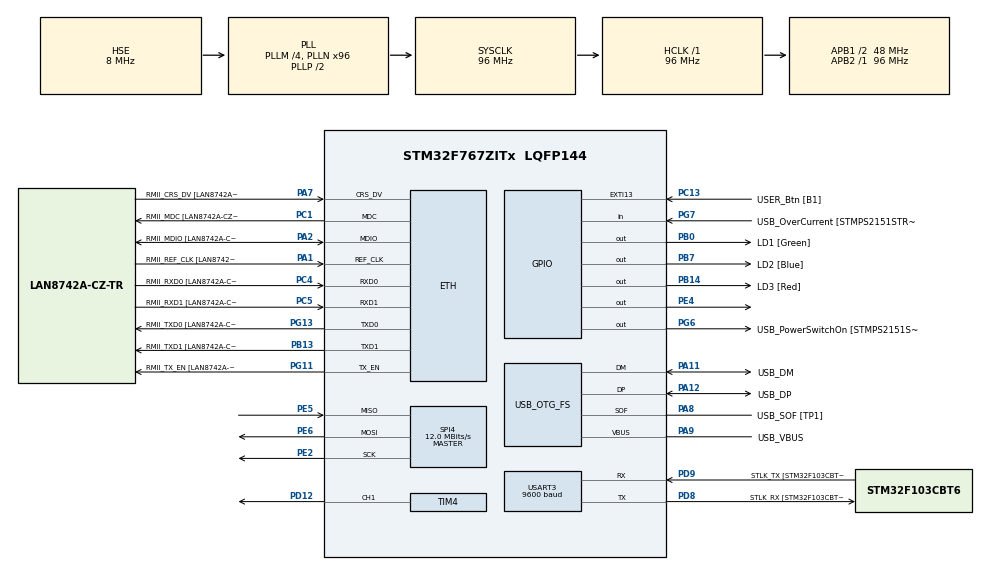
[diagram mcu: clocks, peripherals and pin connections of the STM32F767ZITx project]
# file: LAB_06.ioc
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ETH.MediaInterface=HAL_ETH_RMII_MODE
ETH.PHY_Name=LAN8742A_PHY_ADDRESS
ETH.PHY_Value=0
ETH.PhyAddress=0
Mcu.Family=STM32F7
Mcu.Name=STM32F767ZITx
Mcu.Package=LQFP144
NVIC.PriorityGroup=NVIC_PRIORITYGROUP_4
NVIC.SPI4_IRQn=true\:0\:0\:false\:false\:true\:true\:true\:true
NVIC.TIM2_IRQn=true\:0\:0\:false\:false\:true\:true\:true\:true
NVIC.TIM3_IRQn=true\:0\:0\:false\:false\:true\:true\:true\:true
NVIC.USART3_IRQn=true\:0\:0\:false\:false\:true\:true\:true\:true
PA1.GPIO_Label=RMII_REF_CLK [LAN8742A-CZ-TR_REFCLK0]
PA1.Mode=RMII
PA1.Signal=ETH_REF_CLK
PA10.GPIO_Label=USB_ID
PA10.Signal=USB_OTG_FS_ID
PA11.GPIO_Label=USB_DM
PA11.Mode=Device_Only
PA11.Signal=USB_OTG_FS_DM
PA12.GPIO_Label=USB_DP
PA12.Mode=Device_Only
PA12.Signal=USB_OTG_FS_DP
PA13.GPIO_Label=TMS
PA13.Mode=Serial_Wire
PA13.Signal=SYS_JTMS-SWDIO
PA14.GPIO_Label=TCK
PA14.Mode=Serial_Wire
PA14.Signal=SYS_JTCK-SWCLK
PA2.GPIO_Label=RMII_MDIO [LAN8742A-CZ-TR_MDIO]
PA2.Mode=RMII
PA2.Signal=ETH_MDIO
PA7.GPIO_Label=RMII_CRS_DV [LAN8742A-CZ-TR_CRS_DV]
PA7.Mode=RMII
PA7.Signal=ETH_CRS_DV
PA8.GPIO_Label=USB_SOF [TP1]
PA8.Mode=Activate_SOF_FS
PA8.Signal=USB_OTG_FS_SOF
PA9.GPIO_Label=USB_VBUS
PA9.Mode=Activate_VBUS
PA9.Signal=USB_OTG_FS_VBUS
PB0.GPIO_Label=LD1 [Green]
PB0.Signal=GPIO_Output
PB13.GPIO_Label=RMII_TXD1 [LAN8742A-CZ-TR_TXD1]
PB13.Mode=RMII
PB13.Signal=ETH_TXD1
PB14.GPIO_Label=LD3 [Red]
PB14.Signal=GPIO_Output
PB3.GPIO_Label=SWO
PB3.Signal=SYS_JTDO-SWO
PB7.GPIO_Label=LD2 [Blue]
PB7.Signal=GPIO_Output
PC1.GPIO_Label=RMII_MDC [LAN8742A-CZ-TR_MDC]
PC1.Mode=RMII
PC1.Signal=ETH_MDC
PC13.GPIO_Label=USER_Btn [B1]
PC13.Signal=GPXTI13
PC14/OSC32_IN.Mode=LSE-External-Oscillator
PC14/OSC32_IN.Signal=RCC_OSC32_IN
PC15/OSC32_OUT.Mode=LSE-External-Oscillator
PC15/OSC32_OUT.Signal=RCC_OSC32_OUT
PC4.GPIO_Label=RMII_RXD0 [LAN8742A-CZ-TR_RXD0]
PC4.Mode=RMII
PC4.Signal=ETH_RXD0
PC5.GPIO_Label=RMII_RXD1 [LAN8742A-CZ-TR_RXD1]
PC5.Mode=RMII
PC5.Signal=ETH_RXD1
PD12.Signal=S_TIM4_CH1
PD8.GPIO_Label=STLK_RX [STM32F103CBT6_PA3]
PD8.Mode=Asynchronous
PD8.Signal=USART3_TX
PD9.GPIO_Label=STLK_TX [STM32F103CBT6_PA2]
PD9.Mode=Asynchronous
PD9.Signal=USART3_RX
PE2.Mode=Full_Duplex_Master
PE2.Signal=SPI4_SCK
PE4.Signal=GPIO_Output
PE5.Mode=Full_Duplex_Master
PE5.Signal=SPI4_MISO
PE6.Mode=Full_Duplex_Master
PE6.Signal=SPI4_MOSI
PG11.GPIO_Label=RMII_TX_EN [LAN8742A-CZ-TR_TXEN]
PG11.Mode=RMII
PG11.Signal=ETH_TX_EN
PG13.GPIO_Label=RMII_TXD0 [LAN8742A-CZ-TR_TXD0]
PG13.Mode=RMII
PG13.Signal=ETH_TXD0
PG6.GPIO_Label=USB_PowerSwitchOn [STMPS2151STR_EN]
PG6.Signal=GPIO_Output
PG7.GPIO_Label=USB_OverCurrent [STMPS2151STR_FAULT]
PG7.Signal=GPIO_Input
PH0/OSC_IN.GPIO_Label=MCO [STM32F103CBT6_PA8]
PH0/OSC_IN.Mode=HSE-External-Clock-Source
PH0/OSC_IN.Signal=RCC_OSC_IN
PH1/OSC_OUT.Mode=HSE-External-Clock-Source
PH1/OSC_OUT.Signal=RCC_OSC_OUT
ProjectManager.HeapSize=0x200
ProjectManager.StackSize=0x400
ProjectManager.TargetToolchain=STM32CubeIDE
RCC.48MHZClocksFreq_Value=24000000
RCC.AHBFreq_Value=96000000
RCC.APB1CLKDivider=RCC_HCLK_DIV2
RCC.APB1Freq_Value=48000000
RCC.APB1TimFreq_Value=96000000
RCC.APB2Freq_Value=96000000
RCC.APB2TimFreq_Value=96000000
RCC.CortexFreq_Value=96000000
RCC.HCLKFreq_Value=96000000
RCC.HSE_VALUE=8000000
RCC.HSI_VALUE=16000000
RCC.PLLM=4
RCC.PLLMUL=RCC_PLL_MUL9
RCC.PLLN=96
RCC.PLLQ=4
RCC.PRESCALERUSB=RCC_USBCLKSOURCE_PLL_DIV1_5
RCC.SYSCLKFreq_VALUE=96000000
RCC.SYSCLKSource=RCC_SYSCLKSOURCE_PLLCLK
RCC.SYSCLKSourceVirtual=RCC_SYSCLKSOURCE_PLLCLK
RCC.USBFreq_Value=48000000
RCC.VCOOutputFreq_Value=192000000
SH.S_TIM4_CH1.0=TIM4_CH1,PWM Generation1 CH1
SPI4.BaudRatePrescaler=SPI_BAUDRATEPRESCALER_8
SPI4.CLKPhase=SPI_PHASE_2EDGE
SPI4.CLKPolarity=SPI_POLARITY_HIGH
SPI4.CalculateBaudRate=12.0 MBits/s
SPI4.DataSize=SPI_DATASIZE_8BIT
SPI4.Direction=SPI_DIRECTION_2LINES
SPI4.Mode=SPI_MODE_MASTER
SPI4.VirtualType=VM_MASTER
TIM2.Period=9999
TIM2.Prescaler=10799
TIM3.Period=999
TIM3.Prescaler=23999
TIM4.Channel-PWM\ Generation1\ CH1=TIM_CHANNEL_1
TIM4.Period=9999
TIM4.Prescaler=95
USART3.BaudRate=9600
USART3.VirtualMode-Asynchronous=VM_ASYNC
USB_OTG_FS.VirtualMode=Device_Only
VP_TIM2_VS_ClockSourceINT.Mode=Internal
VP_TIM3_VS_ClockSourceINT.Mode=Internal
VP_TIM4_VS_ClockSourceINT.Mode=Internal
board=NUCLEO-F767ZI

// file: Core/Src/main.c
/* USER CODE BEGIN Header */
/**
 ******************************************************************************
 * @file           : main.c
 * @brief          : Main program body
 ******************************************************************************
 * @attention
 *
 * Copyright (c) 2025 STMicroelectronics.
 * All rights reserved.
 *
 * This software is licensed under terms that can be found in the LICENSE file
 * in the root directory of this software component.
 * If no LICENSE file comes with this software, it is provided AS-IS.
 *
 ******************************************************************************
 */
/* USER CODE END Header */
#include "main.h"
#include "string.h"

/* USER CODE BEGIN Includes */

#include <stdio.h>
#include <stdbool.h>

/* USER CODE END Includes */

#if defined ( __ICCARM__ ) /*!< IAR Compiler */
#pragma location=0x2007c000
ETH_DMADescTypeDef  DMARxDscrTab[ETH_RX_DESC_CNT]; /* Ethernet Rx DMA Descriptors */
#pragma location=0x2007c0a0
ETH_DMADescTypeDef  DMATxDscrTab[ETH_TX_DESC_CNT]; /* Ethernet Tx DMA Descriptors */

#elif defined ( __CC_ARM )  /* MDK ARM Compiler */

__attribute__((at(0x2007c000))) ETH_DMADescTypeDef  DMARxDscrTab[ETH_RX_DESC_CNT]; /* Ethernet Rx DMA Descriptors */
__attribute__((at(0x2007c0a0))) ETH_DMADescTypeDef  DMATxDscrTab[ETH_TX_DESC_CNT]; /* Ethernet Tx DMA Descriptors */

#elif defined ( __GNUC__ ) /* GNU Compiler */

ETH_DMADescTypeDef DMARxDscrTab[ETH_RX_DESC_CNT] __attribute__((section(".RxDecripSection"))); /* Ethernet Rx DMA Descriptors */
ETH_DMADescTypeDef DMATxDscrTab[ETH_TX_DESC_CNT] __attribute__((section(".TxDecripSection")));   /* Ethernet Tx DMA Descriptors */
#endif

ETH_TxPacketConfig TxConfig;

ETH_HandleTypeDef heth;

SPI_HandleTypeDef hspi4;

TIM_HandleTypeDef htim2;
TIM_HandleTypeDef htim3;
TIM_HandleTypeDef htim4;

UART_HandleTypeDef huart3;

PCD_HandleTypeDef hpcd_USB_OTG_FS;

void SystemClock_Config(void);
static void MX_GPIO_Init(void);
static void MX_ETH_Init(void);
static void MX_USART3_UART_Init(void);
static void MX_USB_OTG_FS_PCD_Init(void);
static void MX_SPI4_Init(void);
static void MX_TIM2_Init(void);
static void MX_TIM3_Init(void);
static void MX_TIM4_Init(void);

/* USER CODE BEGIN 0 */

#define ZADANIE 3

void SetPWM(TIM_HandleTypeDef *htim, uint32_t channel, float duty) {
	if (duty < 0.0f)
		duty = 0.0f;
	if (duty > 100.0f)
		duty = 100.0f;

	uint32_t ARR = __HAL_TIM_GET_AUTORELOAD(htim);
	uint32_t compare = (uint32_t) ((duty / 100.0f) * (ARR + 1));
	__HAL_TIM_SET_COMPARE(htim, channel, compare);
}

// wyslanie wiadomosci uart'em
void UART_TransmitMessage(char *msg) {
	HAL_UART_Transmit(&huart3, (uint8_t*) msg, strlen(msg), HAL_MAX_DELAY);
}

// z dokumentacji
# define BMP2_SPI_BUFFER_LEN 28
# define BMP2_DATA_INDEX 1
# define BMP2_REG_ADDR_INDEX 0
# define BMP2_REG_ADDR_LEN 1

#define BMP_CS_PORT GPIOE
#define BMP_CS_PIN  GPIO_PIN_4  // SPI4_NSS - PE4

// aktywacja linii - start komunikacji
void CS_LOW() {
	HAL_GPIO_WritePin(BMP_CS_PORT, BMP_CS_PIN, GPIO_PIN_RESET);
}

// dezaktywacja linii - koniec komunikacji
void CS_HIGH() {
	HAL_GPIO_WritePin(BMP_CS_PORT, BMP_CS_PIN, GPIO_PIN_SET);
}

// zapis do rejestru czujnika
void BMP280_Write(uint8_t reg, uint8_t value) {
	uint8_t tx[2] = { reg & 0x7F, value };
	CS_LOW();
	HAL_SPI_Transmit(&hspi4, tx, 2, HAL_MAX_DELAY);
	CS_HIGH();
}

// odczyt rejestru czujnika
void BMP280_Read(uint8_t reg, uint8_t *data, uint8_t len) {
	uint8_t addr = reg | 0x80;
	CS_LOW();
	HAL_SPI_Transmit(&hspi4, &addr, 1, HAL_MAX_DELAY);
	HAL_SPI_Receive(&hspi4, data, len, HAL_MAX_DELAY);
	CS_HIGH();
}

// XD - kumpel witam, niektore chyba niepotrzebne
#define BMP280_ADDR_CTRL_MEAS  0xF4
#define BMP280_ADDR_CONFIG     0xF5
#define BMP280_ADDR_RESET      0xE0
#define BMP280_ADDR_ID         0xD0

#define BMP280_RESET_VALUE     0xB6
#define BMP280_MODE_NORMAL     0x03
#define BMP280_OSRS_TEMP_2X    (0x02 << 5)

#define BMP280_CTRL_MEAS_INIT  0x27 // oversampling x1 i normal mode

_Bool BMP280_IsDetected() {
	uint8_t id = 0;
	BMP280_Read(BMP280_ADDR_ID, &id, 1);

	// standardowe id czujnika
	if (id == 0x58)
		return true;
	else
		return false;
}

void BMP280_Init() {
	// czytamy id czujnika
	uint8_t id;
	BMP280_Read(BMP280_ADDR_ID, &id, 1);

	// sprawdzamy czy wykryty czujnik
	if (!BMP280_IsDetected()) {
		UART_TransmitMessage("CZUJNIK NIEWYKRYTY\r\n");
		return;
	}

	// zapisujemy reset do adresu reseta czujnika
	// ustawienia domyslne czujnika
	BMP280_Write(BMP280_ADDR_RESET, BMP280_RESET_VALUE);
	HAL_Delay(10);

	// ustawiamy w adresie configu rozne rzeczy (filtry, czas pomiedzy pomiarami) - tutaj wylaczamy wszystko
	BMP280_Write(BMP280_ADDR_CONFIG, 0x00);
	// ustawiamy tryb pracy czujnika,
	BMP280_Write(BMP280_ADDR_CTRL_MEAS, BMP280_CTRL_MEAS_INIT);
}

// bajty tempretury czujnika
// most significant byte
// least significant byte
// extra least significant byte
#define BMP280_ADDR_TEMP_MSB 0xFA
#define BMP280_ADDR_TEMP_LSB 0xFB
#define BMP280_ADDR_TEMP_XLSB 0xFC

// bajty cisnienia czujnika
#define BMP280_ADDR_PRESS_MSB  0xF7
#define BMP280_ADDR_PRESS_LSB  0xF8
#define BMP280_ADDR_PRESS_XLSB 0xF9

// odczyt temperatury...
int32_t BMP280_ReadRawTemperature() {
	uint8_t data[3];
	BMP280_Read(BMP280_ADDR_TEMP_MSB, data, 3);
	int32_t rawTemp = ((int32_t) data[0] << 12) | ((int32_t) data[1] << 4) | ((int32_t) (data[2] >> 4));
	return rawTemp;
}

int32_t BMP280_ReadRawPressure() {
	uint8_t data[3];
	BMP280_Read(BMP280_ADDR_PRESS_MSB, data, 3);
	int32_t rawPress = ((int32_t) data[0] << 12) | ((int32_t) data[1] << 4) | ((int32_t) (data[2] >> 4));
	return rawPress;
}

// trzeba odczytac kalibracje zeby dobrze zamienic raw temp na C
uint16_t dig_T1;
int16_t dig_T2, dig_T3;

// to samo dla cisnienia
uint16_t dig_P1;
int16_t dig_P2, dig_P3, dig_P4, dig_P5, dig_P6, dig_P7, dig_P8, dig_P9;

void BMP280_ReadCalibration() {
	uint8_t calib[24];
	BMP280_Read(0x88, calib, 24);

	dig_T1 = (uint16_t) ((calib[1] << 8) | calib[0]);
	dig_T2 = (int16_t) ((calib[3] << 8) | calib[2]);
	dig_T3 = (int16_t) ((calib[5] << 8) | calib[4]);

	dig_P1 = (uint16_t) ((calib[7] << 8) | calib[6]);
	dig_P2 = (int16_t) ((calib[9] << 8) | calib[8]);
	dig_P3 = (int16_t) ((calib[11] << 8) | calib[10]);
	dig_P4 = (int16_t) ((calib[13] << 8) | calib[12]);
	dig_P5 = (int16_t) ((calib[15] << 8) | calib[14]);
	dig_P6 = (int16_t) ((calib[17] << 8) | calib[16]);
	dig_P7 = (int16_t) ((calib[19] << 8) | calib[18]);
	dig_P8 = (int16_t) ((calib[21] << 8) | calib[20]);
	dig_P9 = (int16_t) ((calib[23] << 8) | calib[22]);
}

//podobno algorytm przeliczenia z dokumentacji czujnika, ale kto by w to wierzyl
int32_t t_fine;

// zwracamy temperature w C
float BMP280_CalcTemperature(int32_t adc_T) {
	int32_t var1, var2;
	var1 = ((((adc_T >> 3) - ((int32_t) dig_T1 << 1))) * ((int32_t) dig_T2)) >> 11;
	var2 = (((((adc_T >> 4) - ((int32_t) dig_T1)) * ((adc_T >> 4) - ((int32_t) dig_T1))) >> 12) * ((int32_t) dig_T3))
			>> 14;
	t_fine = var1 + var2;
	float T = (t_fine * 5 + 128) >> 8;
	return T / 100.0f;
}

int32_t BMP280_CalcTemperature_x100(int32_t adc_T) {
	int32_t var1, var2, T;
	var1 = ((((adc_T >> 3) - ((int32_t) dig_T1 << 1))) * ((int32_t) dig_T2)) >> 11;

	var2 = (((((adc_T >> 4) - ((int32_t) dig_T1)) * ((adc_T >> 4) - ((int32_t) dig_T1))) >> 12) * ((int32_t) dig_T3))
			>> 14;

	t_fine = var1 + var2;
	T = (t_fine * 5 + 128) >> 8;

	return T;
}

int32_t BMP280_CalcPressure(int32_t adc_P) {
	int64_t var1, var2, p;

	var1 = ((int64_t) t_fine) - 128000;
	var2 = var1 * var1 * (int64_t) dig_P6;
	var2 = var2 + ((var1 * (int64_t) dig_P5) << 17);
	var2 = var2 + (((int64_t) dig_P4) << 35);
	var1 = ((var1 * var1 * (int64_t) dig_P3) >> 8) + ((var1 * (int64_t) dig_P2) << 12);
	var1 = (((((int64_t) 1) << 47) + var1)) * ((int64_t) dig_P1) >> 33;

	if (var1 == 0)
		return 0; // avoid exception

	p = 1048576 - adc_P;
	p = (((p << 31) - var2) * 3125) / var1;
	var1 = (((int64_t) dig_P9) * (p >> 13) * (p >> 13)) >> 25;
	var2 = (((int64_t) dig_P8) * p) >> 19;

	p = ((p + var1 + var2) >> 8) + (((int64_t) dig_P7) << 4);

	return (int32_t) p;  // Uwaga: wynik w Q24.8 -> Pa = p/256
}

float tempC;

int32_t rawTemp;

int32_t temp_mC;
int32_t pressPa;

void HAL_TIM_PeriodElapsedCallback(TIM_HandleTypeDef *htim) {
	// zad 2 - odpal debuggera i odczytaj temp
	// zad 3 - temperatura po uarcie do terminala
	// zad 6 - odkomentuj
	// 1 HZ
	if (htim->Instance == TIM2) {
		// sprawdzamy czy wykryty czujnik
		if (!BMP280_IsDetected()) {
			UART_TransmitMessage("CZUJNIK NIEWYKRYTY\r\n");
			return;
		}

		rawTemp = BMP280_ReadRawTemperature();
		tempC = BMP280_CalcTemperature(rawTemp);

		static uint32_t counter = 0; //zad 6
		float time_s = counter; // zad 6

		char buf[50];
		int integer = (int) tempC;
		int decimal = (int) ((tempC - integer) * 100);

#if ZADANIE == 3
			sprintf(buf, "Temperetura = %d.%02d C\r\n", integer, decimal);
			UART_TransmitMessage(buf);
		#endif

#if ZADANIE == 6
			sprintf(buf, "Temperetura = %d.%02d C\r\n", integer, decimal);
			UART_TransmitMessage(buf);
			sprintf(buf, "%.2f,%.2f\r\n", time_s, tempC);
			UART_TransmitMessage(buf);
		#endif

		counter++;
	}

	// nie trzeba w uarcie, ale dla zasady
	// odpal SWV
	// 4 Hz
	if (htim->Instance == TIM3) {

		// sprawdzamy czy wykryty czujnik
		if (!BMP280_IsDetected()) {
			UART_TransmitMessage("CZUJNIK NIEWYKRYTY\r\n");
			return;
		}

		// raw odczyty
		int32_t rawTemp = BMP280_ReadRawTemperature();
		int32_t rawPress = BMP280_ReadRawPressure();

		// temperatura w setnych stopnia
		temp_mC = BMP280_CalcTemperature_x100(rawTemp) * 10;

		// cisnienie w Pa
		pressPa = BMP280_CalcPressure(rawPress);

		//  temperatury na

		// Formatowanie tekstu bez floatów
		char buf[80];
		sprintf(buf, "Temperatura = %ld mC   Cisnienie = %ld Pa\r\n", temp_mC, pressPa);

		UART_TransmitMessage(buf);
	}
}

uint8_t rxBuffer[4];

void HAL_UART_RxCpltCallback(UART_HandleTypeDef *huart) {

	int value = atoi((char*) rxBuffer);

	SetPWM(&htim4, TIM_CHANNEL_1, (float) value);

	HAL_UART_Receive_IT(&huart3, rxBuffer, 4);

//	UART_TransmitMessage("TEST");
}

/* USER CODE END 0 */

int main(void)
{

  /* MCU Configuration--------------------------------------------------------*/

  /* Reset of all peripherals, Initializes the Flash interface and the Systick. */
  HAL_Init();

  /* Configure the system clock */
  SystemClock_Config();

  /* Initialize all configured peripherals */
  MX_GPIO_Init();
  MX_ETH_Init();
  MX_USART3_UART_Init();
  MX_USB_OTG_FS_PCD_Init();
  MX_SPI4_Init();
  MX_TIM2_Init();
  MX_TIM3_Init();
  MX_TIM4_Init();
  /* USER CODE BEGIN 2 */

#if ZADANIE == 2 || ZADANIE == 3
	HAL_TIM_Base_Start_IT(&htim2);
	BMP280_Init();
	BMP280_ReadCalibration();
#endif

#if ZADANIE == 4
	HAL_TIM_Base_Start_IT(&htim3);
	BMP280_Init();
	BMP280_ReadCalibration();
#endif

#if ZADANIE == 5
	UART_TransmitMessage("czas[s], temperatura[C]\r\n");
	HAL_TIM_Base_Start(&htim4);
    HAL_TIM_PWM_Start(&htim4, TIM_CHANNEL_1);
    HAL_TIM_Base_Start_IT(&htim2);
    BMP280_Init();
    BMP280_ReadCalibration();
    SetPWM(&htim4, TIM_CHANNEL_1, 0.0);
    HAL_UART_Receive_IT(&huart3, rxBuffer, 4);
//    UART_TransmitMessage("TES2T");
#endif

#if ZADANIE == 6
    UART_TransmitMessage("czas[s], temperatura[C]\r\n");

//    HAL_UART_Transmit(&huart3, "TES424T", strlen("TES424T"), HAL_MAX_DELAY);
    HAL_TIM_Base_Start(&htim4);
	HAL_TIM_PWM_Start(&htim4, TIM_CHANNEL_1);
	HAL_TIM_Base_Start_IT(&htim2);
	BMP280_Init();
	BMP280_ReadCalibration();
	SetPWM(&htim4, TIM_CHANNEL_1, 0.0);
	HAL_UART_Receive_IT(&huart3, rxBuffer, 4);
    UART_TransmitMessage("czas[s], temperatura[C]\r\n");
#endif

	// zad 2 i 3
//	HAL_TIM_Base_Start_IT(&htim2);
//	BMP280_Init();
//	BMP280_ReadCalibration();

	// zad 4
//	HAL_TIM_Base_Start_IT(&htim3);
//	BMP280_Init();
//	BMP280_ReadCalibration();

	// zad 5
//	HAL_TIM_PWM_Start(&htim4, TIM_CHANNEL_1);
//	BMP280_Init();
//	BMP280_ReadCalibration();

	// zad 6, PWM NA 90%, ODPAL "START LOG" W TERMINALU
//	HAL_TIM_PWM_Start(&htim4, TIM_CHANNEL_1);
//	SetPWM(&htim4, TIM_CHANNEL_1, 90.0);
//	UART_TransmitMessage("czas[s], temperatura[C]\r\n");

  /* USER CODE END 2 */

  /* Infinite loop */
  /* USER CODE BEGIN WHILE */
	while (1) {

		// delay bo bez tego receive z uarta dziala randomowo
		HAL_Delay(10);
//		HAL_UART_Transmit(&huart3, "TES424T", strlen("TES424T"), HAL_MAX_DELAY);
    /* USER CODE END WHILE */

	}
}

void SystemClock_Config(void)
{
  RCC_OscInitTypeDef RCC_OscInitStruct = {0};
  RCC_ClkInitTypeDef RCC_ClkInitStruct = {0};

  /** Configure LSE Drive Capability
  */
  HAL_PWR_EnableBkUpAccess();

  /** Configure the main internal regulator output voltage
  */
  __HAL_RCC_PWR_CLK_ENABLE();
  __HAL_PWR_VOLTAGESCALING_CONFIG(PWR_REGULATOR_VOLTAGE_SCALE3);

  /** Initializes the RCC Oscillators according to the specified parameters
  * in the RCC_OscInitTypeDef structure.
  */
  RCC_OscInitStruct.OscillatorType = RCC_OSCILLATORTYPE_HSE;
  RCC_OscInitStruct.HSEState = RCC_HSE_BYPASS;
  RCC_OscInitStruct.PLL.PLLState = RCC_PLL_ON;
  RCC_OscInitStruct.PLL.PLLSource = RCC_PLLSOURCE_HSE;
  RCC_OscInitStruct.PLL.PLLM = 4;
  RCC_OscInitStruct.PLL.PLLN = 96;
  RCC_OscInitStruct.PLL.PLLP = RCC_PLLP_DIV2;
  RCC_OscInitStruct.PLL.PLLQ = 4;
  RCC_OscInitStruct.PLL.PLLR = 2;
  if (HAL_RCC_OscConfig(&RCC_OscInitStruct) != HAL_OK)
  {
    Error_Handler();
  }

  /** Activate the Over-Drive mode
  */
  if (HAL_PWREx_EnableOverDrive() != HAL_OK)
  {
    Error_Handler();
  }

  /** Initializes the CPU, AHB and APB buses clocks
  */
  RCC_ClkInitStruct.ClockType = RCC_CLOCKTYPE_HCLK|RCC_CLOCKTYPE_SYSCLK
                              |RCC_CLOCKTYPE_PCLK1|RCC_CLOCKTYPE_PCLK2;
  RCC_ClkInitStruct.SYSCLKSource = RCC_SYSCLKSOURCE_PLLCLK;
  RCC_ClkInitStruct.AHBCLKDivider = RCC_SYSCLK_DIV1;
  RCC_ClkInitStruct.APB1CLKDivider = RCC_HCLK_DIV2;
  RCC_ClkInitStruct.APB2CLKDivider = RCC_HCLK_DIV1;

  if (HAL_RCC_ClockConfig(&RCC_ClkInitStruct, FLASH_LATENCY_3) != HAL_OK)
  {
    Error_Handler();
  }
}

static void MX_ETH_Init(void)
{

   static uint8_t MACAddr[6];

  heth.Instance = ETH;
  MACAddr[0] = 0x00;
  MACAddr[1] = 0x80;
  MACAddr[2] = 0xE1;
  MACAddr[3] = 0x00;
  MACAddr[4] = 0x00;
  MACAddr[5] = 0x00;
  heth.Init.MACAddr = &MACAddr[0];
  heth.Init.MediaInterface = HAL_ETH_RMII_MODE;
  heth.Init.TxDesc = DMATxDscrTab;
  heth.Init.RxDesc = DMARxDscrTab;
  heth.Init.RxBuffLen = 1524;

  if (HAL_ETH_Init(&heth) != HAL_OK)
  {
    Error_Handler();
  }

  memset(&TxConfig, 0 , sizeof(ETH_TxPacketConfig));
  TxConfig.Attributes = ETH_TX_PACKETS_FEATURES_CSUM | ETH_TX_PACKETS_FEATURES_CRCPAD;
  TxConfig.ChecksumCtrl = ETH_CHECKSUM_IPHDR_PAYLOAD_INSERT_PHDR_CALC;
  TxConfig.CRCPadCtrl = ETH_CRC_PAD_INSERT;

}

static void MX_SPI4_Init(void)
{

  /* SPI4 parameter configuration*/
  hspi4.Instance = SPI4;
  hspi4.Init.Mode = SPI_MODE_MASTER;
  hspi4.Init.Direction = SPI_DIRECTION_2LINES;
  hspi4.Init.DataSize = SPI_DATASIZE_8BIT;
  hspi4.Init.CLKPolarity = SPI_POLARITY_HIGH;
  hspi4.Init.CLKPhase = SPI_PHASE_2EDGE;
  hspi4.Init.NSS = SPI_NSS_SOFT;
  hspi4.Init.BaudRatePrescaler = SPI_BAUDRATEPRESCALER_8;
  hspi4.Init.FirstBit = SPI_FIRSTBIT_MSB;
  hspi4.Init.TIMode = SPI_TIMODE_DISABLE;
  hspi4.Init.CRCCalculation = SPI_CRCCALCULATION_DISABLE;
  hspi4.Init.CRCPolynomial = 7;
  hspi4.Init.CRCLength = SPI_CRC_LENGTH_DATASIZE;
  hspi4.Init.NSSPMode = SPI_NSS_PULSE_DISABLE;
  if (HAL_SPI_Init(&hspi4) != HAL_OK)
  {
    Error_Handler();
  }

}

static void MX_TIM2_Init(void)
{

  TIM_ClockConfigTypeDef sClockSourceConfig = {0};
  TIM_MasterConfigTypeDef sMasterConfig = {0};

  htim2.Instance = TIM2;
  htim2.Init.Prescaler = 10799;
  htim2.Init.CounterMode = TIM_COUNTERMODE_UP;
  htim2.Init.Period = 9999;
  htim2.Init.ClockDivision = TIM_CLOCKDIVISION_DIV1;
  htim2.Init.AutoReloadPreload = TIM_AUTORELOAD_PRELOAD_DISABLE;
  if (HAL_TIM_Base_Init(&htim2) != HAL_OK)
  {
    Error_Handler();
  }
  sClockSourceConfig.ClockSource = TIM_CLOCKSOURCE_INTERNAL;
  if (HAL_TIM_ConfigClockSource(&htim2, &sClockSourceConfig) != HAL_OK)
  {
    Error_Handler();
  }
  sMasterConfig.MasterOutputTrigger = TIM_TRGO_RESET;
  sMasterConfig.MasterSlaveMode = TIM_MASTERSLAVEMODE_DISABLE;
  if (HAL_TIMEx_MasterConfigSynchronization(&htim2, &sMasterConfig) != HAL_OK)
  {
    Error_Handler();
  }

}

static void MX_TIM3_Init(void)
{

  TIM_ClockConfigTypeDef sClockSourceConfig = {0};
  TIM_MasterConfigTypeDef sMasterConfig = {0};

  htim3.Instance = TIM3;
  htim3.Init.Prescaler = 23999;
  htim3.Init.CounterMode = TIM_COUNTERMODE_UP;
  htim3.Init.Period = 999;
  htim3.Init.ClockDivision = TIM_CLOCKDIVISION_DIV1;
  htim3.Init.AutoReloadPreload = TIM_AUTORELOAD_PRELOAD_DISABLE;
  if (HAL_TIM_Base_Init(&htim3) != HAL_OK)
  {
    Error_Handler();
  }
  sClockSourceConfig.ClockSource = TIM_CLOCKSOURCE_INTERNAL;
  if (HAL_TIM_ConfigClockSource(&htim3, &sClockSourceConfig) != HAL_OK)
  {
    Error_Handler();
  }
  sMasterConfig.MasterOutputTrigger = TIM_TRGO_RESET;
  sMasterConfig.MasterSlaveMode = TIM_MASTERSLAVEMODE_DISABLE;
  if (HAL_TIMEx_MasterConfigSynchronization(&htim3, &sMasterConfig) != HAL_OK)
  {
    Error_Handler();
  }

}

static void MX_TIM4_Init(void)
{

  TIM_ClockConfigTypeDef sClockSourceConfig = {0};
  TIM_MasterConfigTypeDef sMasterConfig = {0};
  TIM_OC_InitTypeDef sConfigOC = {0};

  htim4.Instance = TIM4;
  htim4.Init.Prescaler = 95;
  htim4.Init.CounterMode = TIM_COUNTERMODE_UP;
  htim4.Init.Period = 9999;
  htim4.Init.ClockDivision = TIM_CLOCKDIVISION_DIV1;
  htim4.Init.AutoReloadPreload = TIM_AUTORELOAD_PRELOAD_DISABLE;
  if (HAL_TIM_Base_Init(&htim4) != HAL_OK)
  {
    Error_Handler();
  }
  sClockSourceConfig.ClockSource = TIM_CLOCKSOURCE_INTERNAL;
  if (HAL_TIM_ConfigClockSource(&htim4, &sClockSourceConfig) != HAL_OK)
  {
    Error_Handler();
  }
  if (HAL_TIM_PWM_Init(&htim4) != HAL_OK)
  {
    Error_Handler();
  }
  sMasterConfig.MasterOutputTrigger = TIM_TRGO_RESET;
  sMasterConfig.MasterSlaveMode = TIM_MASTERSLAVEMODE_DISABLE;
  if (HAL_TIMEx_MasterConfigSynchronization(&htim4, &sMasterConfig) != HAL_OK)
  {
    Error_Handler();
  }
  sConfigOC.OCMode = TIM_OCMODE_PWM1;
  sConfigOC.Pulse = 0;
  sConfigOC.OCPolarity = TIM_OCPOLARITY_HIGH;
  sConfigOC.OCFastMode = TIM_OCFAST_DISABLE;
  if (HAL_TIM_PWM_ConfigChannel(&htim4, &sConfigOC, TIM_CHANNEL_1) != HAL_OK)
  {
    Error_Handler();
  }
  HAL_TIM_MspPostInit(&htim4);

}

static void MX_USART3_UART_Init(void)
{

  huart3.Instance = USART3;
  huart3.Init.BaudRate = 9600;
  huart3.Init.WordLength = UART_WORDLENGTH_8B;
  huart3.Init.StopBits = UART_STOPBITS_1;
  huart3.Init.Parity = UART_PARITY_NONE;
  huart3.Init.Mode = UART_MODE_TX_RX;
  huart3.Init.HwFlowCtl = UART_HWCONTROL_NONE;
  huart3.Init.OverSampling = UART_OVERSAMPLING_16;
  huart3.Init.OneBitSampling = UART_ONE_BIT_SAMPLE_DISABLE;
  huart3.AdvancedInit.AdvFeatureInit = UART_ADVFEATURE_NO_INIT;
  if (HAL_UART_Init(&huart3) != HAL_OK)
  {
    Error_Handler();
  }

}

static void MX_USB_OTG_FS_PCD_Init(void)
{

  hpcd_USB_OTG_FS.Instance = USB_OTG_FS;
  hpcd_USB_OTG_FS.Init.dev_endpoints = 6;
  hpcd_USB_OTG_FS.Init.speed = PCD_SPEED_FULL;
  hpcd_USB_OTG_FS.Init.dma_enable = DISABLE;
  hpcd_USB_OTG_FS.Init.phy_itface = PCD_PHY_EMBEDDED;
  hpcd_USB_OTG_FS.Init.Sof_enable = ENABLE;
  hpcd_USB_OTG_FS.Init.low_power_enable = DISABLE;
  hpcd_USB_OTG_FS.Init.lpm_enable = DISABLE;
  hpcd_USB_OTG_FS.Init.vbus_sensing_enable = ENABLE;
  hpcd_USB_OTG_FS.Init.use_dedicated_ep1 = DISABLE;
  if (HAL_PCD_Init(&hpcd_USB_OTG_FS) != HAL_OK)
  {
    Error_Handler();
  }

}

static void MX_GPIO_Init(void)
{
  GPIO_InitTypeDef GPIO_InitStruct = {0};

  /* GPIO Ports Clock Enable */
  __HAL_RCC_GPIOE_CLK_ENABLE();
  __HAL_RCC_GPIOC_CLK_ENABLE();
  __HAL_RCC_GPIOH_CLK_ENABLE();
  __HAL_RCC_GPIOA_CLK_ENABLE();
  __HAL_RCC_GPIOB_CLK_ENABLE();
  __HAL_RCC_GPIOD_CLK_ENABLE();
  __HAL_RCC_GPIOG_CLK_ENABLE();

  /*Configure GPIO pin Output Level */
  HAL_GPIO_WritePin(GPIOE, GPIO_PIN_4, GPIO_PIN_RESET);

  /*Configure GPIO pin Output Level */
  HAL_GPIO_WritePin(GPIOB, LD1_Pin|LD3_Pin|LD2_Pin, GPIO_PIN_RESET);

  /*Configure GPIO pin Output Level */
  HAL_GPIO_WritePin(USB_PowerSwitchOn_GPIO_Port, USB_PowerSwitchOn_Pin, GPIO_PIN_RESET);

  /*Configure GPIO pin : PE4 */
  GPIO_InitStruct.Pin = GPIO_PIN_4;
  GPIO_InitStruct.Mode = GPIO_MODE_OUTPUT_PP;
  GPIO_InitStruct.Pull = GPIO_NOPULL;
  GPIO_InitStruct.Speed = GPIO_SPEED_FREQ_LOW;
  HAL_GPIO_Init(GPIOE, &GPIO_InitStruct);

  /*Configure GPIO pin : USER_Btn_Pin */
  GPIO_InitStruct.Pin = USER_Btn_Pin;
  GPIO_InitStruct.Mode = GPIO_MODE_IT_RISING;
  GPIO_InitStruct.Pull = GPIO_NOPULL;
  HAL_GPIO_Init(USER_Btn_GPIO_Port, &GPIO_InitStruct);

  /*Configure GPIO pins : LD1_Pin LD3_Pin LD2_Pin */
  GPIO_InitStruct.Pin = LD1_Pin|LD3_Pin|LD2_Pin;
  GPIO_InitStruct.Mode = GPIO_MODE_OUTPUT_PP;
  GPIO_InitStruct.Pull = GPIO_NOPULL;
  GPIO_InitStruct.Speed = GPIO_SPEED_FREQ_LOW;
  HAL_GPIO_Init(GPIOB, &GPIO_InitStruct);

  /*Configure GPIO pin : USB_PowerSwitchOn_Pin */
  GPIO_InitStruct.Pin = USB_PowerSwitchOn_Pin;
  GPIO_InitStruct.Mode = GPIO_MODE_OUTPUT_PP;
  GPIO_InitStruct.Pull = GPIO_NOPULL;
  GPIO_InitStruct.Speed = GPIO_SPEED_FREQ_LOW;
  HAL_GPIO_Init(USB_PowerSwitchOn_GPIO_Port, &GPIO_InitStruct);

  /*Configure GPIO pin : USB_OverCurrent_Pin */
  GPIO_InitStruct.Pin = USB_OverCurrent_Pin;
  GPIO_InitStruct.Mode = GPIO_MODE_INPUT;
  GPIO_InitStruct.Pull = GPIO_NOPULL;
  HAL_GPIO_Init(USB_OverCurrent_GPIO_Port, &GPIO_InitStruct);

}

void Error_Handler(void)
{
	__disable_irq();
	while (1) {
	}
}
